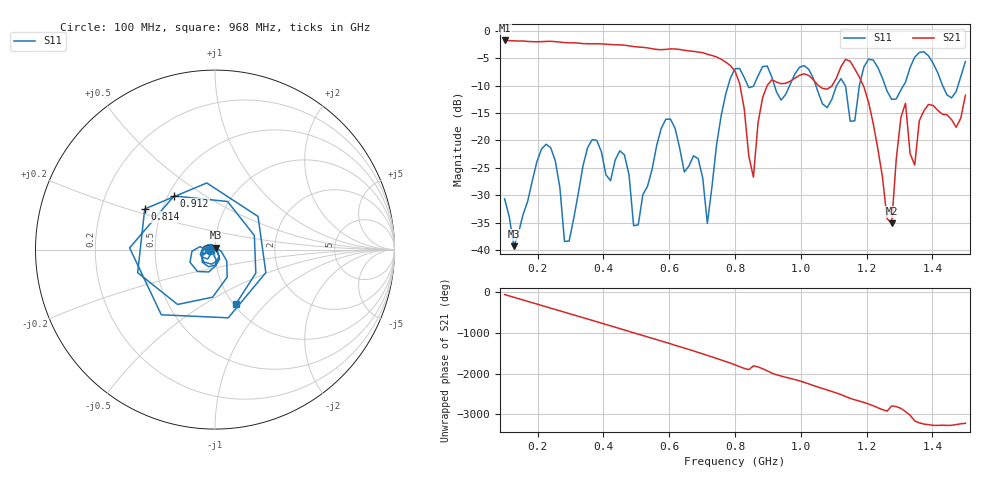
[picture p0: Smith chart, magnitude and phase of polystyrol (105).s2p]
! NanoVNA-App
! Date: 2025-09-26 09:42:42
! Start: 100MHz Stop: 1,5GHz Points: 101
! S-Parameter data: F S11 S21 S12 S22
# Hz S RI R 50
!  Frequency  S11_Real  S11_Imag  S21_Real  S21_Imag  S12_Real  S12_Imag  S22_Real  S22_Imag
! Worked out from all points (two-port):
!   101 points, 100 MHz to 1.5 GHz, reference 50 ohm
!   highest |S21| = -1.79 dB at 100 MHz (marker M1); lowest = -35.1 dB at 1.276 GHz (marker M2)
!   |S21| within 3 dB of the highest: start of sweep to 743.5 MHz
!   lowest |S11| = -39.3 dB at 128 MHz (marker M3), VSWR 1.02, Z = 50.3 + j1.05 ohm
!   |S11| at or under -10 dB: start of sweep to 779.4 MHz; 1.046 GHz to 1.109 GHz (63.45 MHz wide, 5.89 % of centre); 1.256 GHz to 1.312 GHz (55.94 MHz wide, 4.36 % of centre)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
!   S12 and S22 are empty: the file has one direction only
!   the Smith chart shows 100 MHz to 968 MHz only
!   S11 on the Smith chart (normalised r, x): 100 MHz: 0.94, -0.01; 814 MHz: 0.40, +0.23; 912 MHz: 0.54, +0.37; 968 MHz: 1.02, -0.70
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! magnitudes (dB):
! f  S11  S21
! 100 MHz  -30.6  -1.8
! 128 MHz  -39.3  -1.9
! 212 MHz  -21.6  -2.0
! 254 MHz  -23.7  -2.0
! 282 MHz  -38.4  -2.2
! 338 MHz  -24.7  -2.4
! 464 MHz  -22.6  -2.6
! 506 MHz  -35.4  -3.0
! 576 MHz  -17.8  -3.5
! 688 MHz  -23.3  -3.9
! 716 MHz  -35.1  -4.3
! 800 MHz  -6.9  -7.4
! 814 MHz  -6.9  -9.6
! 856 MHz  -10.1  -26.7
! 912 MHz  -8.5  -9.0
! 968 MHz  -9.7  -9.2
! 1.038 GHz  -8.7  -9.0
! 1.178 GHz  -9.9  -8.5
! 1.276 GHz  -12.5  -35.1
! 1.318 GHz  -9.4  -13.2
! 1.346 GHz  -4.8  -24.5
! 1.5 GHz  -5.6  -11.8
